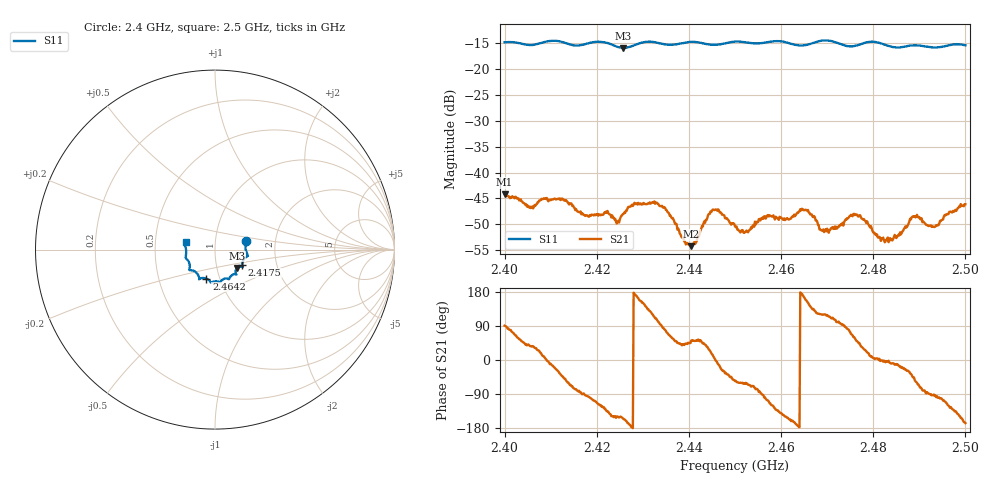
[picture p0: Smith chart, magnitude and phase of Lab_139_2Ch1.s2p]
# Hz S RI R 50
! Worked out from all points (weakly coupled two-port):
!   601 points, 2.4 GHz to 2.5 GHz, reference 50 ohm
!   highest |S21| = -44.16 dB at 2.4 GHz (marker M1); lowest = -54.2 dB at 2.4405 GHz (marker M2)
!   lowest |S11| = -15.9 dB at 2.4257 GHz (marker M3), VSWR 1.38, Z = 62.5 - j13 ohm
!   |S11| at or under -10 dB: start of sweep to end of sweep
!   S12 and S22 are empty: the file has one direction only
!   S11 on the Smith chart (normalised r, x): 2.4 GHz: 1.41, +0.14; 2.4175 GHz: 1.34, -0.23; 2.4642 GHz: 0.86, -0.29; 2.5 GHz: 0.72, +0.06
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2.4e9  0.1737 0.0492  -5.99e-05 0.00619  0 0  0 0
2.405667e9  0.1699 0.00632  0.00364 0.00272  0 0  0 0
2.412833e9  0.1757 -0.0395  0.00364 -0.00398  0 0  0 0
2.416667e9  0.1529 -0.074  0.000161 -0.00395  0 0  0 0
2.4175e9  0.1519 -0.0839  -0.000202 -0.00381  0 0  0 0
2.4245e9  0.1325 -0.0954  -0.00289 -0.00174  0 0  0 0
2.425667e9  0.1228 -0.1017  -0.00356 -0.00175  0 0  0 0
2.4285e9  0.1148 -0.1277  -0.00491 0.000839  0 0  0 0
2.433333e9  0.1135 -0.137  -0.000934 0.00491  0 0  0 0
2.4405e9  0.0785 -0.1649  0.00122 0.00152  0 0  0 0
2.445167e9  0.0545 -0.162  0.00428 0.00101  0 0  0 0
2.45e9  0.0289 -0.1813  0.00172 -0.00249  0 0  0 0
2.452333e9  0.0212 -0.1794  0.00134 -0.00234  0 0  0 0
2.456833e9  -0.0125 -0.18  -0.000951 -0.0036  0 0  0 0
2.464167e9  -0.0481 -0.1615  -0.00442 0.000109  0 0  0 0
2.466667e9  -0.0762 -0.1591  -0.00286 0.0027  0 0  0 0
2.469833e9  -0.0886 -0.166  -0.00124 0.00241  0 0  0 0
2.476667e9  -0.1233 -0.1166  0.00255 0.00279  0 0  0 0
2.483333e9  -0.1406 -0.0897  0.00213 -7.35e-05  0 0  0 0
2.4885e9  -0.162 -0.0471  0.00272 -0.00258  0 0  0 0
2.4935e9  -0.1606 -0.00778  -0.000185 -0.00301  0 0  0 0
2.5e9  -0.1635 0.0424  -0.00482 -0.00115  0 0  0 0
